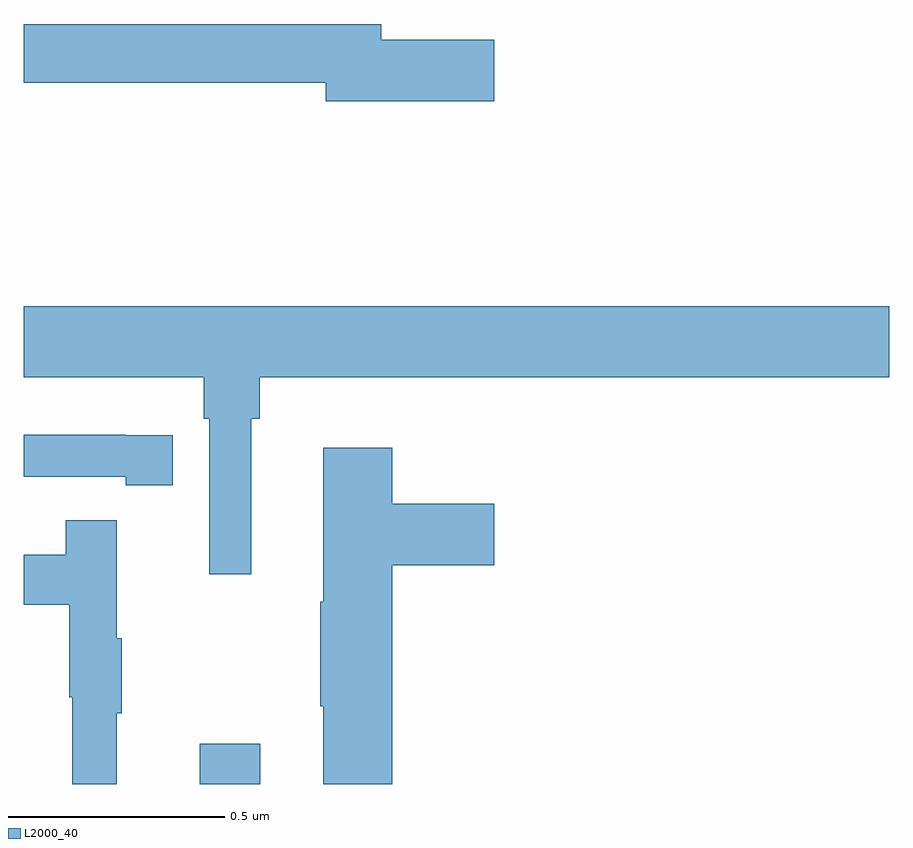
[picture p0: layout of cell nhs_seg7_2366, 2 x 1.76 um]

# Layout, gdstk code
import gdstk
lib = gdstk.Library(unit=1e-6, precision=1e-09)
def R(c, l, rs):  # rectangles x0, y0, x1, y1
    for r in rs: c.add(gdstk.rectangle(r[:2], r[2:], *l))
def P(c, l, *ps):  # polygons
    for p in ps: c.add(gdstk.Polygon(p, *l))
L2000_40 = (2000, 40)

nhs_seg7_2366 = lib.new_cell('nhs_seg7_2366')
R(nhs_seg7_2366, L2000_40, [(144.407,1009,144.547,1009.093)])
P(nhs_seg7_2366, L2000_40, [(145.087,1010.72),(144.826,1010.72),(144.826,1010.756),(144,1010.756),(144,1010.62),(144.698,1010.62),(144.698,1010.578),(145.087,1010.578)],
  [(144.526,1009.844),(144.545,1009.844),(144.545,1009.94),(146,1009.94),(146,1010.104),(144,1010.104),(144,1009.94),(144.416,1009.94),(144.416,1009.844),(144.429,1009.844),(144.429,1009.485),(144.526,1009.485)],
  [(144.344,1009.806),(144.236,1009.806),(144.236,1009.807),(144,1009.807),(144,1009.71),(144.236,1009.71),(144.236,1009.69),(144.344,1009.69)],
  [(144.851,1009.505),(145.087,1009.505),(145.087,1009.647),(144.851,1009.647),(144.851,1009.777),(144.692,1009.777),(144.692,1009.421),(144.685,1009.421),(144.685,1009.18),(144.692,1009.18),(144.692,1009),(144.851,1009)],
  [(144.215,1009.163),(144.226,1009.163),(144.226,1009.337),(144.215,1009.337),(144.215,1009.609),(144.097,1009.609),(144.097,1009.53),(144,1009.53),(144,1009.414),(144.105,1009.414),(144.105,1009.2),(144.112,1009.2),(144.112,1009),(144.215,1009)])

lib.write_gds('nhs_seg7_2366.gds')
